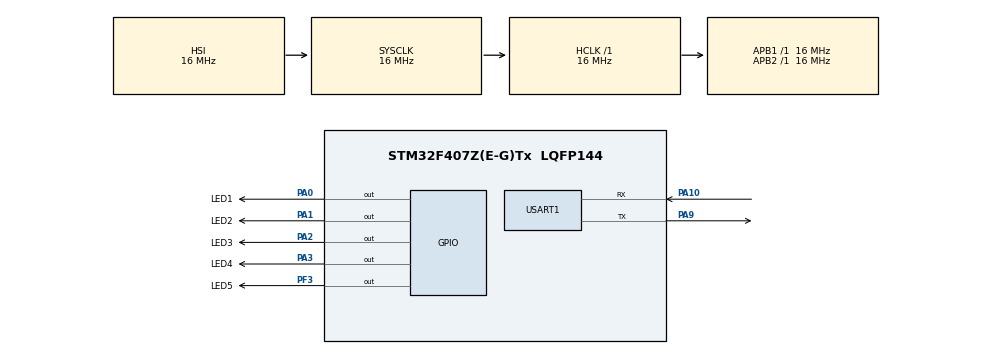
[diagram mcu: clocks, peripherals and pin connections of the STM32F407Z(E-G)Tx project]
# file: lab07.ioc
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Mcu.Family=STM32F4
Mcu.Name=STM32F407Z(E-G)Tx
Mcu.Package=LQFP144
NVIC.PriorityGroup=NVIC_PRIORITYGROUP_4
NVIC.USART1_IRQn=true\:0\:0\:false\:true\:true\:1\:true\:true
PA0-WKUP.GPIO_Label=LED1
PA0-WKUP.Signal=GPIO_Output
PA1.GPIO_Label=LED2
PA1.Signal=GPIO_Output
PA10.Mode=Asynchronous
PA10.Signal=USART1_RX
PA2.GPIO_Label=LED3
PA2.Signal=GPIO_Output
PA3.GPIO_Label=LED4
PA3.Signal=GPIO_Output
PA9.Mode=Asynchronous
PA9.Signal=USART1_TX
PF3.GPIO_Label=LED5
PF3.Signal=GPIO_Output
ProjectManager.HeapSize=0x200
ProjectManager.StackSize=0x400
ProjectManager.TargetToolchain=STM32CubeIDE
RCC.AHBFreq_Value=16000000
RCC.APB1Freq_Value=16000000
RCC.APB2Freq_Value=16000000
RCC.CortexFreq_Value=16000000
RCC.HSE_VALUE=25000000
RCC.HSI_VALUE=16000000
RCC.LSE_VALUE=32768
RCC.SYSCLKFreq_VALUE=16000000
RCC.VCOOutputFreq_Value=192000000
USART1.VirtualMode=VM_ASYNC
board=custom

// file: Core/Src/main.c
/* USER CODE BEGIN Header */
/**
  ******************************************************************************
  * @file           : main.c
  * @brief          : Main program body
  ******************************************************************************
  * @attention
  *
  * <h2><center>&copy; Copyright (c) 2022 STMicroelectronics.
  * All rights reserved.</center></h2>
  *
  * This software component is licensed by ST under BSD 3-Clause license,
  * the "License"; You may not use this file except in compliance with the
  * License. You may obtain a copy of the License at:
  *                        opensource.org/licenses/BSD-3-Clause
  *
  ******************************************************************************
  */
/* USER CODE END Header */
#include "main.h"

/* USER CODE BEGIN Includes */
#include <stdio.h>
#include <string.h>
/* USER CODE END Includes */

/* USER CODE BEGIN PTD */
typedef struct {
	GPIO_TypeDef* port;
	uint16_t pin;
}LED_GPIO_t;
/* USER CODE END PTD */

UART_HandleTypeDef huart1;

/* USER CODE BEGIN PV */
enum LED {
	LED1,
	LED2,
	LED3,
	LED4,
	LED_COUNT
} LED_t;

LED_GPIO_t leds[] = {
	[LED1]	= {LED1_GPIO_Port, LED1_Pin},
	[LED2]	= {LED2_GPIO_Port, LED2_Pin},
	[LED3]	= {LED3_GPIO_Port, LED3_Pin},
	[LED4]	= {LED4_GPIO_Port, LED4_Pin},
};

volatile uint8_t rx_byte;
volatile uint8_t rx_data[10];
volatile uint8_t rx_indx = 0;
volatile uint8_t rx_complete;
uint8_t pin;
char state[10];
/* USER CODE END PV */

void SystemClock_Config(void);
static void MX_GPIO_Init(void);
static void MX_USART1_UART_Init(void);
static void MX_NVIC_Init(void);

int main(void)
{

  /* MCU Configuration--------------------------------------------------------*/

  /* Reset of all peripherals, Initializes the Flash interface and the Systick. */
  HAL_Init();

  /* Configure the system clock */
  SystemClock_Config();

  /* Initialize all configured peripherals */
  MX_GPIO_Init();
  MX_USART1_UART_Init();

  /* Initialize interrupts */
  MX_NVIC_Init();
  /* USER CODE BEGIN 2 */

  HAL_UART_Receive_IT(&huart1, &rx_byte, 1);
  /* USER CODE END 2 */

  /* Infinite loop */
  /* USER CODE BEGIN WHILE */
  while (1)
  {
	  if (rx_complete) {
		  sscanf(rx_data, "%d:%s", &pin, state);
		  if (pin < LED_COUNT) {
			  if (strcmp(state, "ON") == 0) {
				  HAL_GPIO_WritePin(leds[pin].port, leds[pin].pin, GPIO_PIN_SET);
			  }
			  else if (strcmp(state, "OFF") == 0) {
				  HAL_GPIO_WritePin(leds[pin].port, leds[pin].pin, GPIO_PIN_RESET);
			  }
			  else if (strcmp(state, "TOGGLE") == 0) {
				  HAL_GPIO_TogglePin(leds[pin].port, leds[pin].pin);
			  }
			  rx_complete = 0;
			  rx_indx = 0;
			  memset(rx_data, 0, sizeof(rx_data));
			  memset(state, 0, sizeof(state));
		  }
	  }
    /* USER CODE END WHILE */

  }
}

void SystemClock_Config(void)
{
  RCC_OscInitTypeDef RCC_OscInitStruct = {0};
  RCC_ClkInitTypeDef RCC_ClkInitStruct = {0};

  /** Configure the main internal regulator output voltage
  */
  __HAL_RCC_PWR_CLK_ENABLE();
  __HAL_PWR_VOLTAGESCALING_CONFIG(PWR_REGULATOR_VOLTAGE_SCALE1);
  /** Initializes the RCC Oscillators according to the specified parameters
  * in the RCC_OscInitTypeDef structure.
  */
  RCC_OscInitStruct.OscillatorType = RCC_OSCILLATORTYPE_HSI;
  RCC_OscInitStruct.HSIState = RCC_HSI_ON;
  RCC_OscInitStruct.HSICalibrationValue = RCC_HSICALIBRATION_DEFAULT;
  RCC_OscInitStruct.PLL.PLLState = RCC_PLL_NONE;
  if (HAL_RCC_OscConfig(&RCC_OscInitStruct) != HAL_OK)
  {
    Error_Handler();
  }
  /** Initializes the CPU, AHB and APB buses clocks
  */
  RCC_ClkInitStruct.ClockType = RCC_CLOCKTYPE_HCLK|RCC_CLOCKTYPE_SYSCLK
                              |RCC_CLOCKTYPE_PCLK1|RCC_CLOCKTYPE_PCLK2;
  RCC_ClkInitStruct.SYSCLKSource = RCC_SYSCLKSOURCE_HSI;
  RCC_ClkInitStruct.AHBCLKDivider = RCC_SYSCLK_DIV1;
  RCC_ClkInitStruct.APB1CLKDivider = RCC_HCLK_DIV1;
  RCC_ClkInitStruct.APB2CLKDivider = RCC_HCLK_DIV1;

  if (HAL_RCC_ClockConfig(&RCC_ClkInitStruct, FLASH_LATENCY_0) != HAL_OK)
  {
    Error_Handler();
  }
}

/**
  * @brief NVIC Configuration.
  * @retval None
  */
static void MX_NVIC_Init(void)
{
  /* USART1_IRQn interrupt configuration */
  HAL_NVIC_SetPriority(USART1_IRQn, 0, 0);
  HAL_NVIC_EnableIRQ(USART1_IRQn);
}

static void MX_USART1_UART_Init(void)
{

  huart1.Instance = USART1;
  huart1.Init.BaudRate = 115200;
  huart1.Init.WordLength = UART_WORDLENGTH_8B;
  huart1.Init.StopBits = UART_STOPBITS_1;
  huart1.Init.Parity = UART_PARITY_NONE;
  huart1.Init.Mode = UART_MODE_TX_RX;
  huart1.Init.HwFlowCtl = UART_HWCONTROL_NONE;
  huart1.Init.OverSampling = UART_OVERSAMPLING_16;
  if (HAL_UART_Init(&huart1) != HAL_OK)
  {
    Error_Handler();
  }

}

static void MX_GPIO_Init(void)
{
  GPIO_InitTypeDef GPIO_InitStruct = {0};

  /* GPIO Ports Clock Enable */
  __HAL_RCC_GPIOF_CLK_ENABLE();
  __HAL_RCC_GPIOA_CLK_ENABLE();

  /*Configure GPIO pin Output Level */
  HAL_GPIO_WritePin(LED5_GPIO_Port, LED5_Pin, GPIO_PIN_RESET);

  /*Configure GPIO pin Output Level */
  HAL_GPIO_WritePin(GPIOA, LED1_Pin|LED2_Pin|LED3_Pin|LED4_Pin, GPIO_PIN_RESET);

  /*Configure GPIO pin : LED5_Pin */
  GPIO_InitStruct.Pin = LED5_Pin;
  GPIO_InitStruct.Mode = GPIO_MODE_OUTPUT_PP;
  GPIO_InitStruct.Pull = GPIO_NOPULL;
  GPIO_InitStruct.Speed = GPIO_SPEED_FREQ_LOW;
  HAL_GPIO_Init(LED5_GPIO_Port, &GPIO_InitStruct);

  /*Configure GPIO pins : LED1_Pin LED2_Pin LED3_Pin LED4_Pin */
  GPIO_InitStruct.Pin = LED1_Pin|LED2_Pin|LED3_Pin|LED4_Pin;
  GPIO_InitStruct.Mode = GPIO_MODE_OUTPUT_PP;
  GPIO_InitStruct.Pull = GPIO_NOPULL;
  GPIO_InitStruct.Speed = GPIO_SPEED_FREQ_LOW;
  HAL_GPIO_Init(GPIOA, &GPIO_InitStruct);

}

/* USER CODE BEGIN 4 */
void HAL_UART_RxCpltCallback(UART_HandleTypeDef *huart)
{
	if (huart->Instance == USART1) { // Current UART
		rx_data[rx_indx] = rx_byte;    // Add data to Rx_Buffer
		if (rx_data[rx_indx] == '\r') {
			rx_complete = 1;
		}
		rx_indx++;
	}
   HAL_UART_Receive_IT(&huart1, &rx_byte, 1);
}
/* USER CODE END 4 */

void Error_Handler(void)
{
  __disable_irq();
  while (1)
  {
  }
}

/************************ (C) COPYRIGHT STMicroelectronics *****END OF FILE****/
